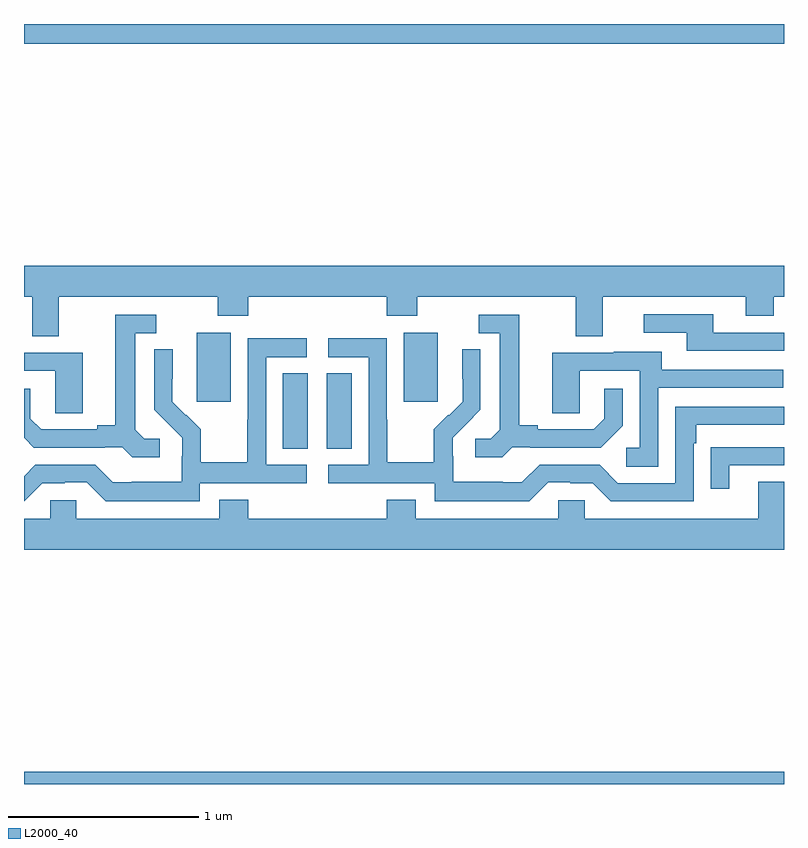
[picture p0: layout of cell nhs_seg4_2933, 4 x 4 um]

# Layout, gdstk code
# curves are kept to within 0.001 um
import gdstk
lib = gdstk.Library(unit=1e-6, precision=1e-09)
def R(c, l, rs):  # rectangles x0, y0, x1, y1
    for r in rs: c.add(gdstk.rectangle(r[:2], r[2:], *l))
def P(c, l, *ps):  # polygons
    for p in ps: c.add(gdstk.Polygon(p, *l))
L2000_40 = (2000, 40)

nhs_seg4_2933 = lib.new_cell('nhs_seg4_2933')
R(nhs_seg4_2933, L2000_40, [(265,816.9,269,816.964), (266.363,818.665,266.494,819.062), (266.594,818.665,266.725,819.062), (265.91,818.913,266.089,819.274), (266.999,818.913,267.178,819.274), (265,820.796,269,820.9)])
P(nhs_seg4_2933, L2000_40, [(265.183,819.464),(266.02,819.464),(266.02,819.365),(266.18,819.365),(266.18,819.464),(266.909,819.464),(266.909,819.365),(267.069,819.365),(267.069,819.464),(267.905,819.464),(267.905,819.256),(268.045,819.256),(268.045,819.464),(268.799,819.464),(268.799,819.365),(268.947,819.365),(268.947,819.464),(269,819.464),(269,819.628),(265,819.628),(265,819.464),(265.043,819.464),(265.043,819.256),(265.183,819.256)],
  [(269,819.276),(268.627,819.276),(268.627,819.372),(268.263,819.372),(268.263,819.276),(268.487,819.276),(268.487,819.18),(269,819.18)],
  [(267.57,818.673),(267.664,818.673),(267.664,818.67),(268.036,818.67),(268.152,818.786),(268.152,818.98),(268.055,818.98),(268.055,818.823),(267.998,818.766),(267.703,818.766),(267.703,818.789),(267.607,818.789),(267.607,819.369),(267.393,819.369),(267.393,819.273),(267.503,819.273),(267.503,818.765),(267.456,818.718),(267.375,818.718),(267.375,818.621),(267.518,818.621)],
  [(265.714,818.718),(265.632,818.718),(265.585,818.765),(265.585,819.273),(265.696,819.273),(265.696,819.369),(265.481,819.369),(265.481,818.789),(265.385,818.789),(265.385,818.766),(265.09,818.766),(265.033,818.823),(265.033,818.98),(265,818.98),(265,818.722),(265.052,818.67),(265.424,818.67),(265.424,818.673),(265.518,818.673),(265.57,818.621),(265.714,818.621)],
  [(265.926,818.484),(266.488,818.484),(266.488,818.58),(266.274,818.58),(266.274,819.147),(266.488,819.147),(266.488,819.246),(266.178,819.246),(266.178,818.816),(266.176,818.816),(266.176,818.593),(265.931,818.593),(265.931,818.767),(265.854,818.844),(265.851,818.841),(265.781,818.912),(265.782,819.188),(265.686,819.188),(265.686,818.87),(265.832,818.722),(265.832,818.625),(265.83,818.625),(265.83,818.491),(265.567,818.491),(265.567,818.487),(265.467,818.487),(265.374,818.58),(265.059,818.58),(265,818.521),(265,818.389),(265.095,818.484),(265.214,818.484),(265.214,818.487),(265.329,818.487),(265.429,818.387),(265.926,818.387)],
  [(267.759,818.487),(267.875,818.487),(267.875,818.484),(267.993,818.484),(268.089,818.388),(268.524,818.388),(268.524,818.693),(268.537,818.693),(268.537,818.79),(269,818.79),(269,818.886),(268.428,818.886),(268.428,818.484),(268.125,818.484),(268.029,818.58),(267.714,818.58),(267.621,818.487),(267.521,818.487),(267.521,818.491),(267.258,818.491),(267.258,818.625),(267.256,818.625),(267.256,818.722),(267.402,818.87),(267.402,819.188),(267.306,819.188),(267.306,819.034),(267.308,819.034),(267.308,818.912),(267.237,818.841),(267.234,818.844),(267.157,818.767),(267.157,818.593),(266.913,818.593),(266.913,818.816),(266.91,818.816),(266.91,819.246),(266.601,819.246),(266.601,819.147),(266.814,819.147),(266.814,818.58),(266.601,818.58),(266.601,818.484),(267.162,818.484),(267.162,818.387),(267.659,818.387)],
  [(268.338,818.985),(268.997,818.985),(268.997,819.081),(268.357,819.081),(268.357,819.175),(268.103,819.175),(268.103,819.171),(267.779,819.171),(267.779,818.851),(267.924,818.851),(267.924,819.075),(268.242,819.075),(268.242,818.67),(268.17,818.67),(268.17,818.569),(268.338,818.569)],
  [(265.309,819.171),(265,819.171),(265,819.075),(265.164,819.075),(265.164,818.851),(265.309,818.851)],
  [(268.711,818.577),(269,818.577),(269,818.673),(268.717,818.673),(268.717,818.672),(268.615,818.672),(268.615,818.454),(268.711,818.454)],
  [(269,818.491),(268.865,818.491),(268.865,818.296),(267.951,818.296),(267.951,818.394),(267.813,818.394),(267.813,818.296),(267.061,818.296),(267.061,818.395),(266.909,818.395),(266.909,818.296),(266.18,818.296),(266.18,818.395),(266.027,818.395),(266.027,818.296),(265.275,818.296),(265.275,818.394),(265.137,818.394),(265.137,818.296),(265,818.296),(265,818.132),(269,818.132)])

lib.write_gds('nhs_seg4_2933.gds')
